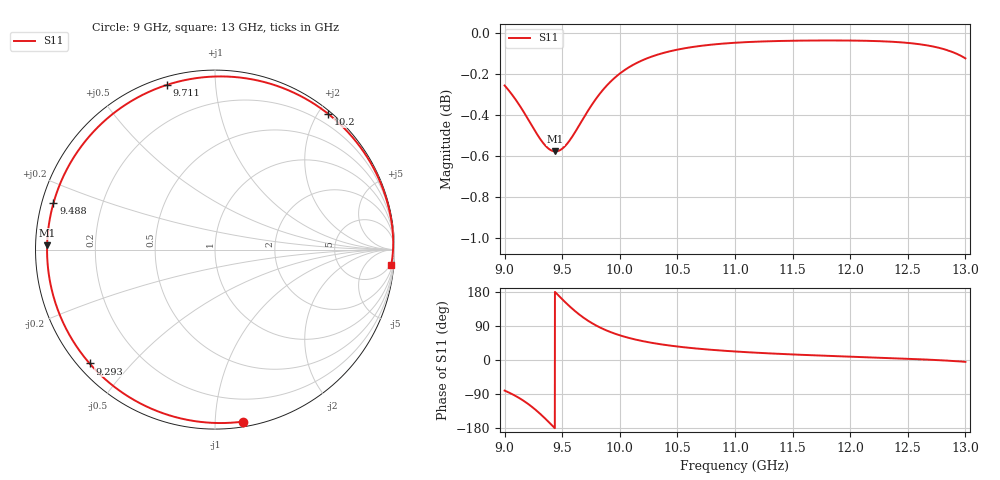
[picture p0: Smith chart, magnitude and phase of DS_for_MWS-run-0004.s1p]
! TOUCHSTONE file generated by CST DESIGN STUDIO
! Date and time: Tue Feb  4 13:16:00 2025
! Project name: C:\Work\MatlabApps\UnitCellOptimizationMatlab\CST\unitcell.cst
! Tree item: Tasks\Sweep1\SPara1\S-Parameters
! Header version: 2024
! Port assignment regex: !\s*Touchstone port\s*([0-9]+)\s*=\s*(CST MWS port|CST DES external port|CST DES block port)\s*(.+)\s* \(\"(.*)\"\)(\s*mode\s*([0-9]+))?.*
! Touchstone port assignment:
! Touchstone port 1 = CST DES external port 1 ("")
# GHz S MA R 50
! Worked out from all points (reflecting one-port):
!   4001 points, 9 GHz to 13 GHz, reference 50 ohm
!   lowest |S11| = -0.6 dB at 9.441 GHz (marker M1), VSWR 30.11, Z = 1.66 + j0.666 ohm
!   phase of S11 starts at -81 deg and turns -284 deg over the sweep
!   S11 on the Smith chart (normalised r, x): 9 GHz: 0.04, -1.18; 9.293 GHz: 0.03, -0.39; 9.488 GHz: 0.03, +0.14; 9.711 GHz: 0.04, +0.75; 10.2 GHz: 0.04, +2.14; 13 GHz: 4, -23
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9  0.9709 -80.7
9.091  0.9637 -94.1
9.165  0.9567 -107.7
9.231  0.9499 -122.1
9.293  0.9437 -137.8
9.372  0.9376 -160.4
9.407  0.9362 -171.0
9.441  0.9357 178.5
9.488  0.9366 164.0
9.5  0.9371 160.4
9.554  0.9406 144.5
9.605  0.9452 130.7
9.656  0.9503 118.2
9.711  0.956 106.3
9.776  0.9622 94.1
9.853  0.9685 82.2
9.924  0.9732 73.2
10  0.9774 65.2
10.092  0.9813 57.2
10.195  0.9846 50.0
10.335  0.9879 42.4
10.5  0.9906 35.6
10.723  0.9928 28.7
11  0.9944 22.5
11.5  0.9955 14.7
12  0.9956 8.8
12.5  0.9943 3.3
13  0.9857 -4.9
